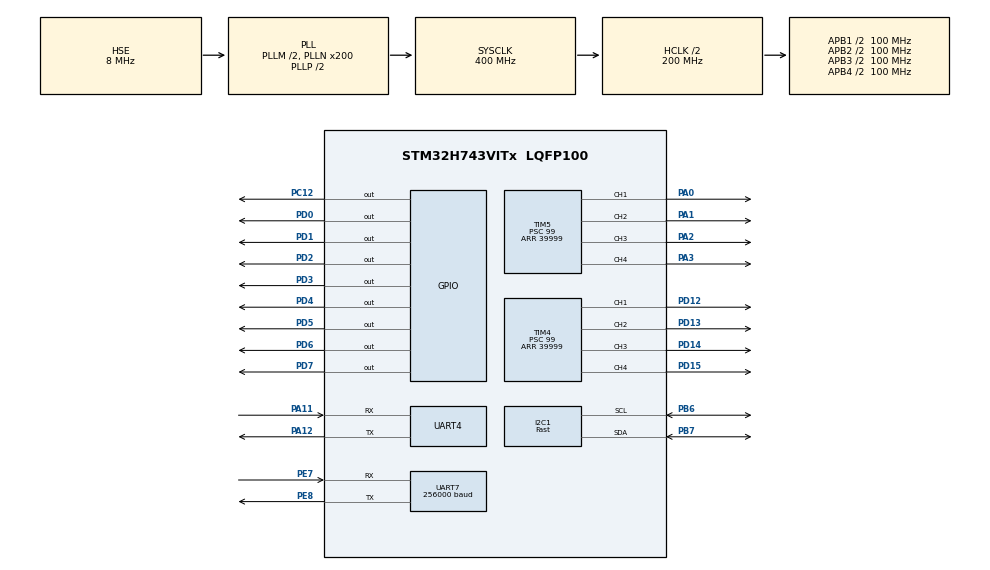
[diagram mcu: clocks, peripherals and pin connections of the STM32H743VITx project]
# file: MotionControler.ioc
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I2C1.CustomTiming=Enabled
I2C1.I2C_Speed_Mode=I2C_Fast
I2C1.Timing=0x307075B1
Mcu.Family=STM32H7
Mcu.Name=STM32H743VITx
Mcu.Package=LQFP100
NVIC.PriorityGroup=NVIC_PRIORITYGROUP_4
NVIC.TIM1_UP_IRQn=true\:1\:0\:true\:false\:true\:true\:true\:true
NVIC.TIM2_IRQn=true\:13\:0\:true\:false\:true\:true\:true\:true
NVIC.TIM3_IRQn=true\:10\:0\:true\:false\:true\:true\:true\:true
NVIC.UART4_IRQn=true\:2\:0\:true\:false\:true\:true\:true\:true
NVIC.UART7_IRQn=true\:3\:0\:true\:false\:true\:true\:true\:true
PA0.Signal=S_TIM5_CH1
PA1.Signal=S_TIM5_CH2
PA11.GPIO_Speed=GPIO_SPEED_FREQ_VERY_HIGH
PA11.Mode=Asynchronous
PA11.Signal=UART4_RX
PA12.GPIO_Speed=GPIO_SPEED_FREQ_VERY_HIGH
PA12.Mode=Asynchronous
PA12.Signal=UART4_TX
PA13\ (JTMS/SWDIO).Mode=Serial_Wire
PA13\ (JTMS/SWDIO).Signal=DEBUG_JTMS-SWDIO
PA14\ (JTCK/SWCLK).Mode=Serial_Wire
PA14\ (JTCK/SWCLK).Signal=DEBUG_JTCK-SWCLK
PA2.Signal=S_TIM5_CH3
PA3.Signal=S_TIM5_CH4
PB6.Mode=I2C
PB6.Signal=I2C1_SCL
PB7.Mode=I2C
PB7.Signal=I2C1_SDA
PC12.Signal=GPIO_Output
PC7.Mode=External_Trigger_bidirectional
PC7.Signal=DEBUG_TRGIO
PD0.Signal=GPIO_Output
PD1.Signal=GPIO_Output
PD12.Signal=S_TIM4_CH1
PD13.Signal=S_TIM4_CH2
PD14.Signal=S_TIM4_CH3
PD15.Signal=S_TIM4_CH4
PD2.Signal=GPIO_Output
PD3.Signal=GPIO_Output
PD4.Signal=GPIO_Output
PD5.Signal=GPIO_Output
PD6.Signal=GPIO_Output
PD7.Signal=GPIO_Output
PE7.GPIO_Speed=GPIO_SPEED_FREQ_VERY_HIGH
PE7.Mode=Asynchronous
PE7.Signal=UART7_RX
PE8.GPIO_Speed=GPIO_SPEED_FREQ_VERY_HIGH
PE8.Mode=Asynchronous
PE8.Signal=UART7_TX
PH0-OSC_IN\ (PH0).Mode=HSE-External-Oscillator
PH0-OSC_IN\ (PH0).Signal=RCC_OSC_IN
PH1-OSC_OUT\ (PH1).Mode=HSE-External-Oscillator
PH1-OSC_OUT\ (PH1).Signal=RCC_OSC_OUT
ProjectManager.HeapSize=0x200
ProjectManager.StackSize=0x400
ProjectManager.TargetToolchain=Makefile
RCC.ADCFreq_Value=16125000
RCC.APB1Freq_Value=100000000
RCC.APB2Freq_Value=100000000
RCC.APB3Freq_Value=100000000
RCC.APB4Freq_Value=100000000
RCC.CortexFreq_Value=400000000
RCC.D1PPRE=RCC_APB3_DIV2
RCC.D2PPRE1=RCC_APB1_DIV2
RCC.D2PPRE2=RCC_APB2_DIV2
RCC.D3PPRE=RCC_APB4_DIV2
RCC.DIVM1=2
RCC.DIVN1=200
RCC.HCLKFreq_Value=200000000
RCC.HPRE=RCC_HCLK_DIV2
RCC.HSE_VALUE=8000000
RCC.PLL1_VCI_Range-AdvancedSettings=RCC_PLL1VCIRANGE_0
RCC.PLL2FRACN=0
RCC.PLL2_VCI_Range-AdvancedSettings=RCC_PLL2VCIRANGE_0
RCC.PLL3FRACN=0
RCC.PLL3_VCI_Range-AdvancedSettings=RCC_PLL3VCIRANGE_0
RCC.PLLFRACN=0
RCC.PLLSourceVirtual=RCC_PLLSOURCE_HSE
RCC.SYSCLKFreq_VALUE=400000000
RCC.SYSCLKSource=RCC_SYSCLKSOURCE_PLLCLK
RCC.USBFreq_Value=400000000
SH.S_TIM4_CH1.0=TIM4_CH1,PWM Generation1 CH1
SH.S_TIM4_CH2.0=TIM4_CH2,PWM Generation2 CH2
SH.S_TIM4_CH3.0=TIM4_CH3,PWM Generation3 CH3
SH.S_TIM4_CH4.0=TIM4_CH4,PWM Generation4 CH4
SH.S_TIM5_CH1.0=TIM5_CH1,PWM Generation1 CH1
SH.S_TIM5_CH2.0=TIM5_CH2,PWM Generation2 CH2
SH.S_TIM5_CH3.0=TIM5_CH3,PWM Generation3 CH3
SH.S_TIM5_CH4.0=TIM5_CH4,PWM Generation4 CH4
TIM1.Period=19999
TIM1.Prescaler=199
TIM2.Period=62499
TIM2.Prescaler=199
TIM3.Period=24999
TIM3.Prescaler=199
TIM4.Channel-PWM\ Generation1\ CH1=TIM_CHANNEL_1
TIM4.Channel-PWM\ Generation2\ CH2=TIM_CHANNEL_2
TIM4.Channel-PWM\ Generation3\ CH3=TIM_CHANNEL_3
TIM4.Channel-PWM\ Generation4\ CH4=TIM_CHANNEL_4
TIM4.Period=39999
TIM4.Prescaler=99
TIM5.Channel-PWM\ Generation1\ CH1=TIM_CHANNEL_1
TIM5.Channel-PWM\ Generation2\ CH2=TIM_CHANNEL_2
TIM5.Channel-PWM\ Generation3\ CH3=TIM_CHANNEL_3
TIM5.Channel-PWM\ Generation4\ CH4=TIM_CHANNEL_4
TIM5.Period=39999
TIM5.Prescaler=99
TIM6.Period=10000-1
TIM6.Prescaler=10000-1
UART7.BaudRate=256000
VP_TIM1_VS_ClockSourceINT.Mode=Internal
VP_TIM2_VS_ClockSourceINT.Mode=Internal
VP_TIM3_VS_ClockSourceINT.Mode=Internal
VP_TIM4_VS_ClockSourceINT.Mode=Internal
VP_TIM5_VS_ClockSourceINT.Mode=Internal
VP_TIM6_VS_ClockSourceINT.Mode=Enable_Timer
board=custom

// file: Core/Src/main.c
/* USER CODE BEGIN Header */
/**
 ******************************************************************************
 * @file           : main.c
 * @brief          : Main program body
 ******************************************************************************
 * @attention
 *
 * Copyright (c) 2023 STMicroelectronics.
 * All rights reserved.
 *
 * This software is licensed under terms that can be found in the LICENSE file
 * in the root directory of this software component.
 * If no LICENSE file comes with this software, it is provided AS-IS.
 *
 ******************************************************************************
 */
/* USER CODE END Header */
#include "main.h"
#include "i2c.h"
#include "tim.h"
#include "usart.h"
#include "gpio.h"

/* USER CODE BEGIN Includes */
#include "motor.h"
#include "comm.h"
#include "thrust.h"
#include "ms5837.h"
#include "usart.h"
#include "filter.h"

#include "autocontrol.h"

#include <stdio.h>
#include <stdlib.h>
#include <string.h>

/* USER CODE END Includes */

/* USER CODE BEGIN PTD */
#define thrust_mean_filter_length 20

/* USER CODE END PTD */

/* USER CODE BEGIN PV */
CoordinateSystems robot;
CoordinateSystems target;

float Vx = 0, Vy = 0, Ry = 0, Tx = 0, Ty = 0, Tz = 0, Mx = 0, My = 0, Mz = 0;

CoordinateSystems robot_pos; // çĺŽçćşĺ¨äşş

CoordinateSystems robot_im_pos;    // ĺçć°´ĺšłçćşĺ¨äşş,ç¨äşčŽĄçŽćşĺ¨äşşć°´ĺšłä˝ç˝ŽčŻŻďż??
CoordinateSystems robot_im_spd;    // éĺşŚçŠşé´ä¸­çćşĺ¨ďż??,ç¨äşčŽĄçŽćşĺ¨äşşć°´ĺšłć¨Şç§ťďż˝?ďż˝ĺčżďż˝?ďż˝ĺşŚ
CoordinateSystems robot_im_thrust; // ć¨ĺçŠşé´ä¸­ççćşĺ¨äşş,ç¨äşčŽĄçŽć¨ĺ
CoordinateVector  required_thrust = {0, 0, 0, 0, 0, 0};

RobotController robot_controller;
float           openloop_thrust[6] = {0}; // 0~5 correspond x y z rx ry rz

MeanFilter meanfilter[6];

int led_motion   = 0;
int led_dataup   = 0;
int led_uart4    = 0;
int led_uart7    = 0;
int led_main     = 0;
int led_watchdog = 0;
int led_ms5837   = 0;

int threadmonitor_tim2  = 30;
int threadmonitor_tim3  = 30;
int threadmonitor_uart4 = 300;
int threadmonitor_uart7 = 300;

int start = 0;

uint8_t transbuf[157] = {0};

float measureddepth = 0;
float realdepth     = 0;
float startdepth    = 0;
float checkeddepth  = 0;

/* USER CODE END PV */

void SystemClock_Config(void);

/* USER CODE BEGIN 0 */
/*
 * ĺ˝ć°ďż????????: HAL_TIM_PeriodElapsedCallback
 * ćčż°  : ĺŽćśĺ¨ä¸­ć­ĺ¤ďż????????
 * čžĺĽ  : TIM_HandleTypeDef *htim ĺŽćśĺ¨ĺ°ďż????????
 * čžĺş  : /
 * ĺ¤ćł¨  : ç¨äşĺ¤çć°ćŽ
 */
void HAL_TIM_PeriodElapsedCallback(TIM_HandleTypeDef *htim)
{
    static float motorthrust[6]        = {0}; // 0~5 correspond motor0~5
    static float askedthrust[6]        = {0};
    static float motorthrust_filted[6] = {0};

    //  1ĺˇĺŽćśĺ¨ä¸­ć­
    //  é˘ç 20hz
    if (htim == (&htim1))
    { // watch dog
        threadmonitor_tim2--;
        threadmonitor_tim3--;
        threadmonitor_uart4--;
        threadmonitor_uart7--;

        if (threadmonitor_tim2 <= 0)
        {
            __HAL_TIM_CLEAR_IT(&htim2, TIM_IT_UPDATE);
            HAL_TIM_Base_Start_IT(&htim2);
            threadmonitor_tim2 = 30;
        }
        if (threadmonitor_tim3 <= 0)
        {
            __HAL_TIM_CLEAR_IT(&htim3, TIM_IT_UPDATE);
            HAL_TIM_Base_Start_IT(&htim3);
            threadmonitor_tim3 = 30;
        }
        // if (threadmonitor_uart4 <= 0)
        // {
        //     HAL_UART_Receive_IT(&huart4, uart4rec.buf, 1);
        //     __HAL_UART_CLEAR_OREFLAG(&huart4);
        //     threadmonitor_uart4 = 30;
        // }
        if (threadmonitor_uart7 <= 0)
        {
            MX_UART7_Init();
            HAL_UART_Receive_IT(&huart7, uart7rec.buf + uart7rec.cnt, 1);
            threadmonitor_uart7 = 50;
        }
        // led
        if (led_watchdog)
            HAL_GPIO_WritePin(GPIOD, GPIO_PIN_5, GPIO_PIN_SET);
        else
            HAL_GPIO_WritePin(GPIOD, GPIO_PIN_5, GPIO_PIN_RESET);
        led_watchdog = !led_watchdog;
    }
    //  2ĺˇĺŽćśĺ¨ä¸­ć­
    //  é˘ç 16hz
    else if (htim == (&htim2))
    {
        threadmonitor_tim3 = 20;

        memcpy(transbuf + 3, &(robot.base.vector), 24);
        // memcpy(transbuf + 27, &(robot.target_inbase.vector), 24);
        memcpy(transbuf + 27, &(robot_im_pos.target_inbase.vector), 12);
        memcpy(transbuf + 39, (uint8_t *)&(robot_pos.target_inbase.vector.rx), 12);

        memcpy(transbuf + 51, &(robot.target_inworld.vector), 24);
        memcpy(transbuf + 75, &(robot_controller.state), 6);
        memcpy(transbuf + 81, &(imu), 50);
        memcpy(transbuf + 131, &(motorthrust_filted), 24);

        // __HAL_UNLOCK(&huart4);
        HAL_UART_Transmit(&huart4, transbuf, 157, 10);

        // led
        if (led_dataup)
            HAL_GPIO_WritePin(GPIOD, GPIO_PIN_1, GPIO_PIN_SET);
        else
            HAL_GPIO_WritePin(GPIOD, GPIO_PIN_1, GPIO_PIN_RESET);
        led_dataup = !led_dataup;
    }
    //  3ĺˇĺŽćśĺ¨ä¸­ć­
    //  é˘ç 40hz
    else if (htim == (&htim3))
    {
        // threadmonitor_tim2 = 20;

        // // Cs data refresh
        robot.base.vector.x  = imu.pos.x;
        robot.base.vector.y  = imu.pos.y;
        robot.base.vector.z  = imu.pos.z;
        robot.base.vector.rx = imu.pos.rx;
        robot.base.vector.ry = imu.pos.ry;
        robot.base.vector.rz = imu.pos.rz;

        // // refresh CoordinateSystems
        // robot.base.extract(&(robot.base));

        // // Cs transform
        // robot.world2base(&robot);

        // čŽĄçŽĺć§ĺśĺ¨ďż??ďż??ćľéĺźä¸čŻŻĺˇŽĺźDF
        // ćşĺ¨äşşĺďż??
        robot_im_pos.base.vector.x = robot_pos.base.vector.x = imu.pos.x;
        robot_im_pos.base.vector.y = robot_pos.base.vector.y = imu.pos.y;
        robot_im_pos.base.vector.z = robot_pos.base.vector.z = imu.pos.z;

        // çŽć ä˝ç˝Ž
        robot_im_pos.target_inworld.vector.x = robot_pos.target_inworld.vector.x = robot.target_inworld.vector.x;
        robot_im_pos.target_inworld.vector.y = robot_pos.target_inworld.vector.y = robot.target_inworld.vector.y;
        robot_im_pos.target_inworld.vector.z = robot_pos.target_inworld.vector.z = robot.target_inworld.vector.z;
        robot_im_pos.target_inworld.vector.rz = robot_pos.target_inworld.vector.rz = robot.target_inworld.vector.rz;
        robot_im_pos.target_inworld.extract(&(robot_im_pos.target_inworld));

        // ĺ§żďż˝??
        robot_pos.base.vector.rx = imu.pos.rx;
        robot_pos.base.vector.ry = imu.pos.ry;
        robot_pos.base.vector.rz = imu.pos.rz;
        robot_pos.base.extract(&(robot_pos.base));

        robot_im_spd.base.vector.rx = robot_im_thrust.base.vector.rx = robot_pos.base.vector.rx;
        robot_im_spd.base.vector.ry = robot_im_thrust.base.vector.ry = robot_pos.base.vector.ry;
        robot_im_pos.base.vector.rz                                  = robot_pos.base.vector.rz;

        // ĺŻźĺşĺĺčçłťĺć˘ĺ¨ĺŻščąĄçĺşĺşçŠéľ
        robot_im_pos.base.extract(&(robot_im_pos.base));
        robot_im_spd.base.extract(&(robot_im_spd.base));
        robot_im_thrust.base.extract(&(robot_im_thrust.base));

        // čŽĄçŽćşĺ¨äşşçć°´ĺšłć¨Şç§ťä¸ĺčżďż˝?ďż˝ĺşŚ
        robot_im_spd.target_inbase.vector.x = imu.spd.x;
        robot_im_spd.target_inbase.vector.y = imu.spd.y;
        robot_im_spd.target_inbase.vector.z = imu.spd.z;
        robot_im_spd.target_inbase.extract(&(robot_im_spd.target_inbase));
        robot_im_spd.base2world(&robot_im_spd);

        // čŽĄçŽćşĺ¨äşşĺčçłťä¸­çć°´ĺšłčŻŻĺˇŽďźć¨Şĺä¸ĺĺďż??
        robot_im_pos.world2base(&robot_im_pos);

        // Pid controller refresh
        if (robot_controller.state[0] == 1) // x
            Tx = robot_controller.x.refresh(&robot_controller.x, robot_im_pos.target_inbase.vector.x);
        else
            Tx = openloop_thrust[0];

        if (robot_controller.state[1] == 1) // y
            Ty = robot_controller.y.refresh(&robot_controller.y, robot_im_pos.target_inbase.vector.y);
        else
            Ty = openloop_thrust[1];

        if (robot_controller.state[2] == 1) // z
            Tz = robot_controller.z.refresh(&robot_controller.z, robot_im_pos.target_inbase.vector.z);
        else
            Tz = openloop_thrust[2];

        // ĺ§żďż˝?ďż˝ć§ĺśĺ¨
        robot_pos.target_inworld.vector.ry = Ry;
        robot_pos.target_inworld.extract(&(robot_pos.target_inworld));
        robot_pos.world2base(&robot_pos);

        if (robot_controller.state[3] == 1) // rx
            //Mx = robot_controller.rx.refresh(&robot_controller.rx, AngleCorrect(robot_pos.target_inbase.vector.rx));
            Mx = 0;
        else
            //Mx = openloop_thrust[3];
            Mx = 0;
        if (robot_controller.state[4] == 1) // ry
            My = robot_controller.ry.refresh(&robot_controller.ry, AngleCorrect(robot_pos.target_inbase.vector.ry));
        else
            My = openloop_thrust[4];

        if (robot_controller.state[5] == 1) // rz
            Mz = robot_controller.rz.refresh(&robot_controller.rz, AngleCorrect(robot_pos.target_inbase.vector.rz));
        else
            Mz = openloop_thrust[5];

        // ć¨ĺć˘çŽ
        // Tx = NEGATIVE_BUOYANCY * tan(robot_pos.base.vector.ry * deg2rad);

        robot_im_thrust.target_inworld.vector.x = Tx;
        robot_im_thrust.target_inworld.vector.y = Ty;
        robot_im_thrust.target_inworld.vector.z = Tz;
        robot_im_thrust.target_inworld.extract(&(robot_im_thrust.target_inworld));
        robot_im_thrust.world2base(&robot_im_thrust);

        askedthrust[0] = robot_im_thrust.target_inbase.vector.x;
        askedthrust[1] = robot_im_thrust.target_inbase.vector.y;
        askedthrust[2] = robot_im_thrust.target_inbase.vector.z;

        robot_im_thrust.target_inworld.vector.x = Mx;
        robot_im_thrust.target_inworld.vector.y = My;
        robot_im_thrust.target_inworld.vector.z = Mz;
        robot_im_thrust.target_inworld.extract(&(robot_im_thrust.target_inworld));
        robot_im_thrust.world2base(&robot_im_thrust);

        askedthrust[3] = robot_im_thrust.target_inbase.vector.x;
        askedthrust[4] = robot_im_thrust.target_inbase.vector.y;
        askedthrust[5] = robot_im_thrust.target_inbase.vector.z;

        // allocate thrust
        ThrustAllocate(askedthrust, motorthrust);

        // thrust filter
        // for (int i = 0; i < 6; i++) { motorthrust_filted[i] = meanfilter[i].refresh(&(meanfilter[i]), motorthrust[i]); }
        for (int i = 0; i < 6; i++) { motorthrust_filted[i] = motorthrust[i]; }

        // Convert thrust signal to PWM signal
        MotorPwmRefresh(motorthrust_filted);

        // led
        if (led_motion)
            HAL_GPIO_WritePin(GPIOD, GPIO_PIN_0, GPIO_PIN_SET);
        else
            HAL_GPIO_WritePin(GPIOD, GPIO_PIN_0, GPIO_PIN_RESET);
        led_motion = !led_motion;
    }
}
/* USER CODE END 0 */

int main(void)
{

  /* MCU Configuration--------------------------------------------------------*/

  /* Reset of all peripherals, Initializes the Flash interface and the Systick. */
  HAL_Init();

  /* Configure the system clock */
  SystemClock_Config();

  /* Initialize all configured peripherals */
  MX_GPIO_Init();
  MX_TIM5_Init();
  MX_UART4_Init();
  MX_UART7_Init();
  MX_TIM2_Init();
  MX_TIM3_Init();
  MX_TIM4_Init();
  MX_TIM1_Init();
  MX_I2C1_Init();
  MX_TIM6_Init();
  /* USER CODE BEGIN 2 */
    // uart it start
    CommInit();
    Ms5837Init(&hi2c1);

    // LED init
    HAL_GPIO_WritePin(GPIOD, GPIO_PIN_0, GPIO_PIN_SET);
    HAL_GPIO_WritePin(GPIOD, GPIO_PIN_1, GPIO_PIN_SET);
    HAL_GPIO_WritePin(GPIOD, GPIO_PIN_2, GPIO_PIN_SET);
    HAL_GPIO_WritePin(GPIOD, GPIO_PIN_3, GPIO_PIN_SET);
    HAL_GPIO_WritePin(GPIOD, GPIO_PIN_4, GPIO_PIN_SET);
    HAL_GPIO_WritePin(GPIOD, GPIO_PIN_5, GPIO_PIN_SET);
    HAL_GPIO_WritePin(GPIOD, GPIO_PIN_6, GPIO_PIN_SET);
    HAL_GPIO_WritePin(GPIOD, GPIO_PIN_7, GPIO_PIN_SET);

    // motor init
    MotorInit();

    // Data init
    CoordinateSystems_Init(&robot);  // Robot CS
    CoordinateSystems_Init(&target); // target CS

    // ćşĺ¨äşşćčż°çŠéľĺĺ§ĺ
    CoordinateSystems_Init(&robot_pos);
    CoordinateSystems_Init(&robot_im_pos);
    CoordinateSystems_Init(&robot_im_spd);
    CoordinateSystems_Init(&robot_im_thrust);

    robot_controller.state[0] = robot_controller.state[1] = robot_controller.state[2] = 0;
    robot_controller.state[3] = robot_controller.state[4] = robot_controller.state[5] = 0;
    PositionalPID_Init(&(robot_controller.x), 0, 0, 0, 0, 0);  // X pid controller
    PositionalPID_Init(&(robot_controller.y), 0, 0, 0, 0, 0);  // y pid controller
    PositionalPID_Init(&(robot_controller.z), 0, 0, 0, 0, 0);  // z pid controller
    PositionalPID_Init(&(robot_controller.rx), 0, 0, 0, 0, 0); // pitch pid controller
    PositionalPID_Init(&(robot_controller.ry), 0, 0, 0, 0, 0); // roll pid controller
    PositionalPID_Init(&(robot_controller.rz), 0, 0, 0, 0, 0); // yaw pid controller
    transbuf[0]   = 0xfa;
    transbuf[1]   = 0xaf;
    transbuf[2]   = 0x00;
    transbuf[155] = 0xfb;
    transbuf[156] = 0xbf;

    MeanFilter_Init(&(meanfilter[0]), thrust_mean_filter_length);
    MeanFilter_Init(&(meanfilter[1]), thrust_mean_filter_length);
    MeanFilter_Init(&(meanfilter[2]), thrust_mean_filter_length);
    MeanFilter_Init(&(meanfilter[3]), thrust_mean_filter_length);
    MeanFilter_Init(&(meanfilter[4]), thrust_mean_filter_length);
    MeanFilter_Init(&(meanfilter[5]), thrust_mean_filter_length);

    ThrustCurveInit(&(thrustcurve[0]));
    ThrustCurveInit(&(thrustcurve[1]));
    ThrustCurveInit(&(thrustcurve[2]));
    ThrustCurveInit(&(thrustcurve[3]));
    ThrustCurveInit(&(thrustcurve[4]));
    ThrustCurveInit(&(thrustcurve[5]));

    // start data process
    HAL_TIM_Base_Start_IT(&htim2);
    HAL_TIM_Base_Start_IT(&htim3);

    // HAL_Delay(1000);
    // HAL_TIM_Base_Start_IT(&htim1);
  /* USER CODE END 2 */

  /* Infinite loop */
  /* USER CODE BEGIN WHILE */
    Ms5837Read(&hi2c1);
    Ms5837Depth(&startdepth);
    checkeddepth = startdepth;

    while (1)
    {
        Ms5837Read(&hi2c1);
        Ms5837Depth(&measureddepth);
        realdepth = measureddepth - startdepth;
        KalmanFilter(realdepth, &checkeddepth);
        imu.pos.z = checkeddepth;

    /* USER CODE END WHILE */

    /* USER CODE BEGIN 3 */
        // led
        if (led_main)
            HAL_GPIO_WritePin(GPIOD, GPIO_PIN_4, GPIO_PIN_SET);
        else
            HAL_GPIO_WritePin(GPIOD, GPIO_PIN_4, GPIO_PIN_RESET);
        led_main = !led_main;

        //HAL_Delay(50);
    }
  /* USER CODE END 3 */
}

void SystemClock_Config(void)
{
  RCC_OscInitTypeDef RCC_OscInitStruct = {0};
  RCC_ClkInitTypeDef RCC_ClkInitStruct = {0};

  /** Supply configuration update enable
  */
  HAL_PWREx_ConfigSupply(PWR_LDO_SUPPLY);

  /** Configure the main internal regulator output voltage
  */
  __HAL_PWR_VOLTAGESCALING_CONFIG(PWR_REGULATOR_VOLTAGE_SCALE1);

  while(!__HAL_PWR_GET_FLAG(PWR_FLAG_VOSRDY)) {}

  /** Initializes the RCC Oscillators according to the specified parameters
  * in the RCC_OscInitTypeDef structure.
  */
  RCC_OscInitStruct.OscillatorType = RCC_OSCILLATORTYPE_HSE;
  RCC_OscInitStruct.HSEState = RCC_HSE_ON;
  RCC_OscInitStruct.PLL.PLLState = RCC_PLL_ON;
  RCC_OscInitStruct.PLL.PLLSource = RCC_PLLSOURCE_HSE;
  RCC_OscInitStruct.PLL.PLLM = 2;
  RCC_OscInitStruct.PLL.PLLN = 200;
  RCC_OscInitStruct.PLL.PLLP = 2;
  RCC_OscInitStruct.PLL.PLLQ = 2;
  RCC_OscInitStruct.PLL.PLLR = 2;
  RCC_OscInitStruct.PLL.PLLRGE = RCC_PLL1VCIRANGE_2;
  RCC_OscInitStruct.PLL.PLLVCOSEL = RCC_PLL1VCOWIDE;
  RCC_OscInitStruct.PLL.PLLFRACN = 0;
  if (HAL_RCC_OscConfig(&RCC_OscInitStruct) != HAL_OK)
  {
    Error_Handler();
  }

  /** Initializes the CPU, AHB and APB buses clocks
  */
  RCC_ClkInitStruct.ClockType = RCC_CLOCKTYPE_HCLK|RCC_CLOCKTYPE_SYSCLK
                              |RCC_CLOCKTYPE_PCLK1|RCC_CLOCKTYPE_PCLK2
                              |RCC_CLOCKTYPE_D3PCLK1|RCC_CLOCKTYPE_D1PCLK1;
  RCC_ClkInitStruct.SYSCLKSource = RCC_SYSCLKSOURCE_PLLCLK;
  RCC_ClkInitStruct.SYSCLKDivider = RCC_SYSCLK_DIV1;
  RCC_ClkInitStruct.AHBCLKDivider = RCC_HCLK_DIV2;
  RCC_ClkInitStruct.APB3CLKDivider = RCC_APB3_DIV2;
  RCC_ClkInitStruct.APB1CLKDivider = RCC_APB1_DIV2;
  RCC_ClkInitStruct.APB2CLKDivider = RCC_APB2_DIV2;
  RCC_ClkInitStruct.APB4CLKDivider = RCC_APB4_DIV2;

  if (HAL_RCC_ClockConfig(&RCC_ClkInitStruct, FLASH_LATENCY_2) != HAL_OK)
  {
    Error_Handler();
  }
}

void Error_Handler(void)
{
    __disable_irq();
    while (1) {}
}
